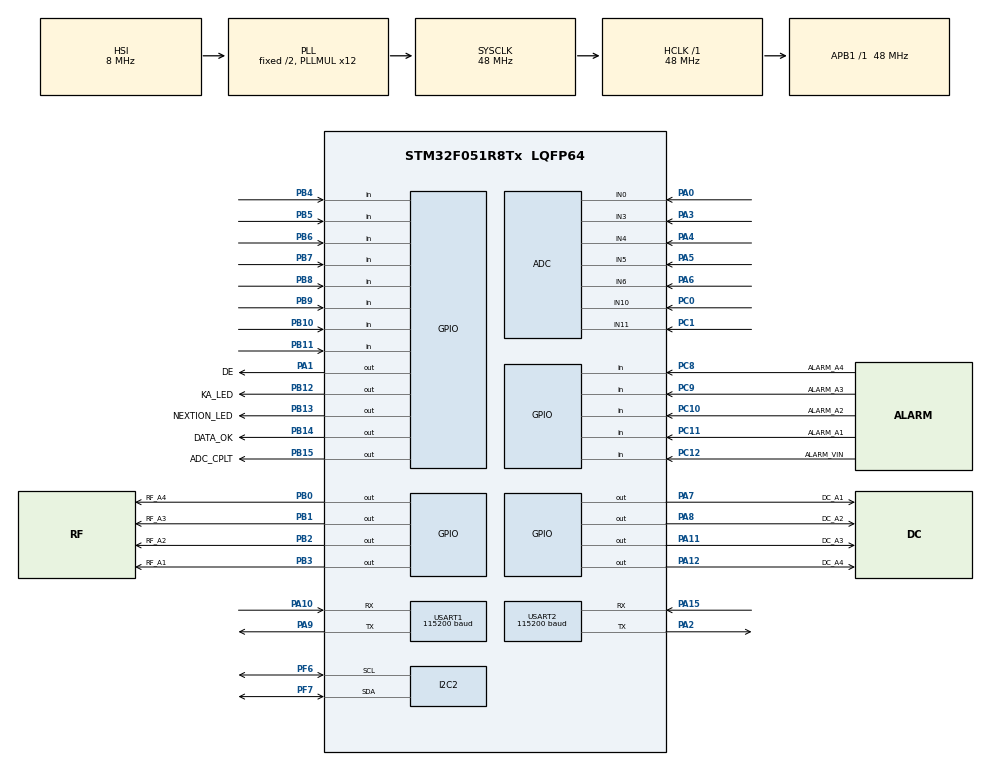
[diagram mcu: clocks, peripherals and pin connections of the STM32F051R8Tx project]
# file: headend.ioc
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ADC.ClockPrescaler=ADC_CLOCK_ASYNC_DIV1
ADC.ContinuousConvMode=ENABLE
ADC.DMAContinuousRequests=ENABLE
ADC.DiscontinuousConvMode=DISABLE
ADC.EOCSelection=ADC_EOC_SEQ_CONV
ADC.ExternalTrigConv=ADC_SOFTWARE_START
ADC.SamplingTime=ADC_SAMPLETIME_239CYCLES_5
Dma.ADC.0.Direction=DMA_PERIPH_TO_MEMORY
Dma.ADC.0.Instance=DMA1_Channel1
Dma.ADC.0.MemDataAlignment=DMA_MDATAALIGN_WORD
Dma.ADC.0.MemInc=DMA_MINC_ENABLE
Dma.ADC.0.Mode=DMA_CIRCULAR
Dma.ADC.0.PeriphDataAlignment=DMA_PDATAALIGN_WORD
Dma.ADC.0.PeriphInc=DMA_PINC_DISABLE
Dma.ADC.0.Priority=DMA_PRIORITY_LOW
Dma.Request0=ADC
I2C2.Timing=0x20303E5D
IWDG.Prescaler=IWDG_PRESCALER_32
IWDG.Reload=1250
Mcu.Family=STM32F0
Mcu.Name=STM32F051R8Tx
Mcu.Package=LQFP64
NVIC.ADC1_COMP_IRQn=true\:0\:0\:false\:false\:true\:true\:true\:true
NVIC.DMA1_Channel1_IRQn=true\:0\:0\:false\:false\:true\:false\:true\:true
NVIC.USART1_IRQn=true\:0\:0\:false\:false\:true\:true\:true\:true
NVIC.USART2_IRQn=true\:0\:0\:false\:false\:true\:true\:true\:true
PA0.Mode=IN0
PA0.Signal=ADC_IN0
PA1.GPIO_Label=DE
PA1.Signal=GPIO_Output
PA10.Mode=Asynchronous
PA10.Signal=USART1_RX
PA11.GPIO_Label=DC_A3
PA11.Signal=GPIO_Output
PA12.GPIO_Label=DC_A4
PA12.Signal=GPIO_Output
PA13.Mode=Serial_Wire
PA13.Signal=SYS_SWDIO
PA14.Mode=Serial_Wire
PA14.Signal=SYS_SWCLK
PA15.Mode=Asynchronous
PA15.Signal=USART2_RX
PA2.Mode=Asynchronous
PA2.Signal=USART2_TX
PA3.Mode=IN3
PA3.Signal=ADC_IN3
PA4.Mode=IN4
PA4.Signal=ADC_IN4
PA5.Mode=IN5
PA5.Signal=ADC_IN5
PA6.Mode=IN6
PA6.Signal=ADC_IN6
PA7.GPIO_Label=DC_A1
PA7.Signal=GPIO_Output
PA8.GPIO_Label=DC_A2
PA8.Signal=GPIO_Output
PA9.Mode=Asynchronous
PA9.Signal=USART1_TX
PB0.GPIO_Label=RF_A4
PB0.Signal=GPIO_Output
PB1.GPIO_Label=RF_A3
PB1.Signal=GPIO_Output
PB10.Signal=GPIO_Input
PB11.Signal=GPIO_Input
PB12.GPIO_Label=KA_LED
PB12.Signal=GPIO_Output
PB13.GPIO_Label=NEXTION_LED
PB13.Signal=GPIO_Output
PB14.GPIO_Label=DATA_OK
PB14.Signal=GPIO_Output
PB15.GPIO_Label=ADC_CPLT
PB15.Signal=GPIO_Output
PB2.GPIO_Label=RF_A2
PB2.Signal=GPIO_Output
PB3.GPIO_Label=RF_A1
PB3.Signal=GPIO_Output
PB4.Signal=GPIO_Input
PB5.Signal=GPIO_Input
PB6.Signal=GPIO_Input
PB7.Signal=GPIO_Input
PB8.Signal=GPIO_Input
PB9.Signal=GPIO_Input
PC0.Mode=IN10
PC0.Signal=ADC_IN10
PC1.Mode=IN11
PC1.Signal=ADC_IN11
PC10.GPIO_Label=ALARM_A2
PC10.Signal=GPIO_Input
PC11.GPIO_Label=ALARM_A1
PC11.Signal=GPIO_Input
PC12.GPIO_Label=ALARM_VIN
PC12.Signal=GPIO_Input
PC8.GPIO_Label=ALARM_A4
PC8.Signal=GPIO_Input
PC9.GPIO_Label=ALARM_A3
PC9.Signal=GPIO_Input
PF0-OSC_IN.Mode=HSE-External-Oscillator
PF0-OSC_IN.Signal=RCC_OSC_IN
PF1-OSC_OUT.Mode=HSE-External-Oscillator
PF1-OSC_OUT.Signal=RCC_OSC_OUT
PF6.Mode=I2C
PF6.Signal=I2C2_SCL
PF7.Mode=I2C
PF7.Signal=I2C2_SDA
ProjectManager.HeapSize=0x200
ProjectManager.StackSize=0x400
ProjectManager.TargetToolchain=STM32CubeIDE
RCC.AHBFreq_Value=48000000
RCC.APB1Freq_Value=48000000
RCC.APB1TimFreq_Value=48000000
RCC.HCLKFreq_Value=48000000
RCC.HSE_VALUE=16000000
RCC.PLLMUL=RCC_PLL_MUL12
RCC.SYSCLKFreq_VALUE=48000000
RCC.SYSCLKSource=RCC_SYSCLKSOURCE_PLLCLK
USART1.BaudRate=115200
USART1.VirtualMode-Asynchronous=VM_ASYNC
USART2.BaudRate=115200
USART2.Parity=PARITY_NONE
USART2.VirtualMode-Asynchronous=VM_ASYNC
VP_IWDG_VS_IWDG.Mode=IWDG_Activate
board=custom

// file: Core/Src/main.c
/* USER CODE BEGIN Header */
/**
 ******************************************************************************
 * @file           : main.c
 * @brief          : Main program body
 ******************************************************************************
 * @attention
 *
 * Copyright (c) 2023 STMicroelectronics.
 * All rights reserved.
 *
 * This software is licensed under terms that can be found in the LICENSE file
 * in the root directory of this software component.
 * If no LICENSE file comes with this software, it is provided AS-IS.
 *
 ******************************************************************************
 */
/* USER CODE END Header */
#include "main.h"

/* USER CODE BEGIN Includes */
#include "math.h"
#include "stdio.h"
#include "stdlib.h"
#include "stdbool.h"
#include <limits.h>
#include "rdss.h"
#include "module.h"

static const char *END_RX_DATA = "&";
static const char *START_RX_DATA = "$";
/* USER CODE END Includes */

ADC_HandleTypeDef hadc;
DMA_HandleTypeDef hdma_adc;

I2C_HandleTypeDef hi2c2;

IWDG_HandleTypeDef hiwdg;

UART_HandleTypeDef huart1;
UART_HandleTypeDef huart2;

void SystemClock_Config(void);
static void MX_GPIO_Init(void);
static void MX_DMA_Init(void);
static void MX_ADC_Init(void);
static void MX_I2C2_Init(void);
static void MX_USART1_UART_Init(void);
static void MX_USART2_UART_Init(void);
static void MX_IWDG_Init(void);

/* USER CODE BEGIN 0 */
#define ADC_CONSUMPTION_CURRENT_FACTOR  0.06472492f
#define ADC_LINE_CURRENT_FACTOR  0.0010989f
#define ADC_VOLTAGE_FACTOR  0.01387755f
#define ARTERIAL1_VOLTAGE_OBJECT_NAME "x0\0"

#define ARTERIAL1_CURRENT_OBJECT_NAME "x1\0"
#define ARTERIAL1_CURRENT_BAR_NAME "j0\0"
#define ARTERIAL1_POWER_OBJECT_NAME "x2\0"
#define ARTERIAL1_DC_ON_OBJECT_NAME "bt1\0"
#define ARTERIAL1_RF_ON_OBJECT_NAME "bt0\0"
#define ARTERIAL1_DC_ON_OBJECT_ID 5
#define ARTERIAL1_RF_ON_OBJECT_ID 3
#define ARTERIAL1_CURRENT_OBJECT_ID 4

#define ARTERIAL2_VOLTAGE_OBJECT_NAME "x5\0"
#define ARTERIAL2_CURRENT_OBJECT_NAME "x4\0"
#define ARTERIAL2_CURRENT_BAR_NAME "j1\0"
#define ARTERIAL2_POWER_OBJECT_NAME "x3\0"
#define ARTERIAL2_DC_ON_OBJECT_NAME "bt3\0"
#define ARTERIAL2_RF_ON_OBJECT_NAME "bt2\0"
#define ARTERIAL2_DC_ON_OBJECT_ID 13
#define ARTERIAL2_RF_ON_OBJECT_ID 12
#define ARTERIAL2_CURRENT_OBJECT_ID 6

#define ARTERIAL3_VOLTAGE_OBJECT_NAME "x8\0"
#define ARTERIAL3_CURRENT_OBJECT_NAME "x7\0"
#define ARTERIAL3_CURRENT_BAR_NAME "j2\0"
#define ARTERIAL3_POWER_OBJECT_NAME "x6\0"
#define ARTERIAL3_DC_ON_OBJECT_NAME "bt5\0"
#define ARTERIAL3_RF_ON_OBJECT_NAME "bt4\0"
#define ARTERIAL3_DC_ON_OBJECT_ID 15
#define ARTERIAL3_RF_ON_OBJECT_ID 14
#define ARTERIAL3_CURRENT_OBJECT_ID 7

#define ARTERIAL4_VOLTAGE_OBJECT_NAME "x11\0"
#define ARTERIAL4_CURRENT_OBJECT_NAME "x10\0"
#define ARTERIAL4_CURRENT_BAR_NAME "j3\0"
#define ARTERIAL4_POWER_OBJECT_NAME "x9\0"
#define ARTERIAL4_DC_ON_OBJECT_NAME "bt7\0"
#define ARTERIAL4_RF_ON_OBJECT_NAME "bt6\0"
#define ARTERIAL4_DC_ON_OBJECT_ID 17
#define ARTERIAL4_RF_ON_OBJECT_ID 16
#define ARTERIAL4_CURRENT_OBJECT_ID 8

#define DC_48V_OBJECT_NAME "t4\0"
#define DC_24V_OBJECT_NAME "t5\0"
#define DC_12V_OBJECT_NAME "t6\0"
#define DC_BAR_OBJ "j5\0"
#define UPLINK_OBJECT_NAME "x13\0"
#define DOWNLINK_OBJECT_NAME "x12\0"
#define DL_BAR_OBJ "j4\0"

#define RDSS_FRAME_SIZE 14
#define SIGMA_FRAME_SIZE 14
#define RDSS_START_MARK 0x7e
#define RDSS_END_MARK  0x7f
#define RDSS_BUFFER_SIZE 50
#define LTEL_SET_LENGTH  13
#define LTEL_QUERY_LENGTH  9
#define MINIMUN_FRAME_LEN 6
#define CRC_HIGH_BYTE_OFFSET 2
#define CRC_LOW_BYTE_OFFSET 3
#define FRAME_HEADER_SIZE 4
#define QUERY_SIZE_DATA
#define UART2_RX_BUFFLEN 10
#define UART2_TX_BUFFLEN 30

#define ADC_MIN_VALUE 865
#define ADC_MAX_VALUE 1795
#define VOLTAGE_MIN 11.68
#define VOLTAGE_MAX 23.27

#define ADC_CURRENT_MIN_VALUE 165
#define ADC_CURRENT_MAX_VALUE 564
#define CURRENT_MIN_VALUE 0.34
#define CURRENT_MAX_VALUE 1.16

#define ADC_CURRENT_MIN_VALUE_old 418
#define ADC_CURRENT_MAX_VALUE_old 2866
#define CURRENT_MIN_VALUE_old 0.2
#define CURRENT_MAX_VALUE_old 1.22

#define ADC_DOWNLINK_MAX 1634
#define DOWNLINK_LEVEL_MAX 11.7
#define ADC_DOWNLINK_MIN 1014
#define DOWNLINK_LEVEL_MIN -7.8
#define DOWNLINK_THRESHOLD 1600

#define UPLINK_LEVEL_MIN -45
#define UPLINK_LEVEL_MAX 0

#define ART1_THRESHOLD 450
#define ART2_THRESHOLD 450
#define ART3_THRESHOLD 450
#define ART4_THRESHOLD 450
#define VOLT_THRESHOLD 1232

#define UPLINK_THRESHOLD 100

#define VOLTAGE_THRESHOLD_5V 500
#define VOLTAGE_THRESHOLD_18V 1330
#define VOLTAGE_THRESHOLD_36V 2740

#define YELLOW_C 65504
#define RED_C 63488
#define WHITE_C 65535
#define GREEN_ON_C 2016
#define GREEN_BACKGROUND 1024
#define GREEN_DARK_BACKGROUND 480
#define GREY_BACKGROUND 50712
#define ORANGE_C 64128
#define GREY_C 21162
#define BLACK_C 0

#define SEND_DATA_TO_NEXION_TIMEOUT 100
#define ADC_WINDOW_SIZE 50

typedef enum {
	VIN_0V, VIN_12V, VIN_24V, VIN_48V, VIN_UNKNOW
} VOLTAGE_STATE_T;

int uplinkLevel;
float downlinkLevel;
uint8_t dc_bar;
uint8_t dlBar;
char dlBarObj[4];
bool vAlarm = false;
bool dlAlarm = false;
bool ulAlarm = false;
GPIO_PinState pinDcAlarm;
GPIO_PinState pinDownlinkAlarm;
char dcValueObjName[4];
char dc_12v_object[4];
char dc_24v_object[4];
char dc_48v_object[4];
char dcBarObjt[4];
VOLTAGE_STATE_T dc_voltage_state;
float dc_voltage_value;
bool arterial_change[10] = { false };
uint8_t arterial_change_times = 0;
bool arterial_update = false;
typedef enum {
	ART1, ART2, ART3, ART4, ARTERIAL_NUMBER
} ARTERIAL_NUM_T;

typedef enum NEXTION_UART_INDEX {
	START, CMD, VALUE, END, BUTTON_DATA_SIZE
} NEXTION_INDEX_T;

typedef enum {
	ART1_CURRENT_CHANNEL,
	ART4_CURRENT_CH,
	VOLTAGE_CHANNEL,
	DOWNLINK_LVL_CH,
	UPLINK_LVL_CH,
	ART3_CURRENT_CH,
	ART2_CURRENT_CHANNEL,
	ADC_CHANNELS
} ADC_CHANNEL_T;

typedef struct ARTERIAL {

	float current;
	uint8_t cBar;
	char cObj[4];
	char cBarObj[4];
	char rfObjName[4];
	char dc_object_name[4];
	uint8_t vObjID;
	uint8_t cObjID;
	uint8_t pObjID;
	uint8_t rfObjID;
	uint8_t dcObjID;
	bool current_alarm;
	uint32_t dc_alarm_color;
	uint32_t cAlarmColor;
} Arterial;

// Create a lookup table to map arterial numbers to ADC indices
const int arterialToADCIndex[ARTERIAL_NUMBER] = { ART1_CURRENT_CHANNEL,
		ART2_CURRENT_CHANNEL, ART3_CURRENT_CH, ART4_CURRENT_CH };

typedef struct {
	GPIO_TypeDef *dcPort;
	uint16_t dcPin;
	GPIO_TypeDef *rfPort;
	uint16_t rfPin;
	GPIO_TypeDef *alarm_port;
	uint16_t alarm_pin;
	bool dc_on;
	bool dcOnLast;
	bool rfOn;
	bool dc_alarm;
} ArterialIO;

Arterial arterial[ARTERIAL_NUMBER];
ArterialIO arterial_io[ARTERIAL_NUMBER];

// UART1 variables for nextion comunication
uint8_t uartBuffer[20];
uint8_t uart1RxSize;
uint8_t Cmd_End[3] = { 0xff, 0xff, 0xff };
bool sendDataOnTimeout = false;
bool isCmdOk = false;
bool isRxDataReady = false;

// UART2 variables for parameter quering
uint8_t rxData;
uint8_t uart2RxSize = 0;
uint8_t uart2RxData[UART2_RX_BUFFLEN];
bool isRxDataOk = false;
uint8_t txData;
uint8_t uart2TxIndex = 0;
uint8_t uart2TxData[UART2_TX_BUFFLEN];

uint32_t adcValues[ADC_CHANNELS];
uint8_t adcCounter[ADC_CHANNELS] = { 0 };
uint16_t adcReadings[ADC_CHANNELS][ADC_WINDOW_SIZE] = { 0 };
uint16_t adcMA[ADC_CHANNELS];
uint32_t adcSum[ADC_CHANNELS] = { 0 };

void set_arterial_output_on(ArterialIO arterial_io) {
	uint8_t pulse_width = 0;
	uint16_t pulse_times = 0;
	uint16_t pulse_period = 0;
	switch (dc_voltage_state) {

	case VIN_0V:
		pulse_width = 0;
		pulse_times = 0;
		pulse_period = 0;
		break;
	case VIN_12V:
		pulse_width = 39;
		pulse_times = 100;
		pulse_period = 100;
		break;
	case VIN_24V:
		pulse_width = 15;
		pulse_times = 45;
		pulse_period = 50;
		break;
	case VIN_48V:
		pulse_width = 10;
		pulse_times = 100;
		pulse_period = 33;
		break;
	default:
		pulse_width = 0;
		pulse_times = 0;
		pulse_period = 0;
		break;
	}

	for (uint16_t i = 0; i < pulse_times; i++) {
		for (uint8_t j = 0; j < pulse_period; j++) {
			if (j < pulse_width)
				HAL_GPIO_WritePin(arterial_io.dcPort, arterial_io.dcPin,
						GPIO_PIN_SET);
			else
				HAL_GPIO_WritePin(arterial_io.dcPort, arterial_io.dcPin,
						GPIO_PIN_RESET);
		}
	}
	HAL_GPIO_WritePin(arterial_io.dcPort, arterial_io.dcPin, GPIO_PIN_SET);
}

void set_arterial_output_off(ArterialIO arterial_io) {
	uint8_t pulse_width = 0;
	uint16_t pulse_times = 0;
	uint16_t pulse_period = 0;
	uint8_t count = 0;
	uint8_t set = 0;
	switch (dc_voltage_state) {

	case VIN_0V:
		pulse_width = 0;
		pulse_times = 0;
		pulse_period = 0;
		set = 0;
		break;
	case VIN_12V:
		pulse_width = 0;
		pulse_times = 0;
		pulse_period = 0;
		set = 0;
		break;
	case VIN_24V:
		pulse_width = 29;
		pulse_times = 37;
		pulse_period = 100;
		set = 20;
		break;
	case VIN_48V:
		pulse_width = 29;
		pulse_times = 40;
		pulse_period = 100;
		set = 30;
		break;
	default:
		pulse_width = 0;
		pulse_times = 0;
		pulse_period = 0;
		set = 0;
		break;
	}

	for (uint16_t i = 0; i < pulse_times; i++) {
		if(pulse_times > set){
			count = 1;
		}
		for (uint8_t j = 0; j < pulse_period; j++) {
			if (j < (pulse_width-count))
				HAL_GPIO_WritePin(arterial_io.dcPort, arterial_io.dcPin,
						GPIO_PIN_SET);
			else
				HAL_GPIO_WritePin(arterial_io.dcPort, arterial_io.dcPin,
						GPIO_PIN_RESET);
		}
	}
	HAL_GPIO_WritePin(arterial_io.dcPort, arterial_io.dcPin, GPIO_PIN_RESET);
	count = 0;
}

void intToNextion(char *obj, int32_t num) {
	uint8_t buffer[30] = { 0 };
	int len = sprintf((char*) buffer, "%s.val=%ld", obj, num);
	HAL_UART_Transmit(&huart1, buffer, len, HAL_MAX_DELAY);
	HAL_UART_Transmit(&huart1, Cmd_End, sizeof(Cmd_End), HAL_MAX_DELAY);
}

void floatToNextion(char *obj, float num, int dp) {
	// convert to the integer
	uint8_t len = 0;
	int32_t number = num * (pow(10, dp));
	HAL_StatusTypeDef res;
	uint8_t buffer[30] = { 0 };
	len = sprintf((char*) buffer, "%s.vvs1=%d", obj, dp);
	HAL_UART_Transmit(&huart1, buffer, len, HAL_MAX_DELAY);
	HAL_UART_Transmit(&huart1, Cmd_End, sizeof(Cmd_End), HAL_MAX_DELAY);
	len = sprintf((char*) buffer, "%s.val=%ld", obj, number);
	HAL_UART_Transmit(&huart1, buffer, len, HAL_MAX_DELAY);
	HAL_UART_Transmit(&huart1, Cmd_End, sizeof(Cmd_End), HAL_MAX_DELAY);
}

void set_color_to_nextion(char *obj, uint32_t color) {
	// convert to the integer
	uint8_t len = 0;
	uint8_t buffer[30] = { 0 };
	len = sprintf((char*) buffer, "%s.bco=%lu", obj, color);
	HAL_UART_Transmit(&huart1, buffer, len, HAL_MAX_DELAY);
	HAL_UART_Transmit(&huart1, Cmd_End, sizeof(Cmd_End), HAL_MAX_DELAY);
}

void set_on_color_to_nextion(char *obj, uint32_t color) {
	// convert to the integer
	uint8_t len = 0;
	uint8_t buffer[30] = { 0 };
	len = sprintf((char*) buffer, "%s.bco2=%lu", obj, color);
	HAL_UART_Transmit(&huart1, buffer, len, HAL_MAX_DELAY);
	HAL_UART_Transmit(&huart1, Cmd_End, sizeof(Cmd_End), HAL_MAX_DELAY);
}

void colorToNextionOff(char *obj, uint32_t color) {
	// convert to the integer
	uint8_t len = 0;
	uint8_t buffer[30] = { 0 };
	len = sprintf((char*) buffer, "%s.bco=%lu", obj, color);
	HAL_UART_Transmit(&huart1, buffer, len, HAL_MAX_DELAY);
	HAL_UART_Transmit(&huart1, Cmd_End, sizeof(Cmd_End), HAL_MAX_DELAY);
}

void set_text_color_to_nextion(char *obj, uint32_t color) {
	// convert to the integer
	uint8_t len = 0;
	uint8_t buffer[30] = { 0 };
	len = sprintf((char*) buffer, "%s.pco=%lu", obj, color);
	HAL_UART_Transmit(&huart1, buffer, len, HAL_MAX_DELAY);
	HAL_UART_Transmit(&huart1, Cmd_End, sizeof(Cmd_End), HAL_MAX_DELAY);
}

void sendArterialToNextion(Arterial arterial) {
	floatToNextion(arterial.cObj, arterial.current, 2);
	if (arterial.current_alarm)
		set_color_to_nextion(arterial.cObj, RED_C);
	else
		set_color_to_nextion(arterial.cObj, WHITE_C);

}

HAL_StatusTypeDef rxHalRes;

void HAL_UART_RxCpltCallback(UART_HandleTypeDef *huart) {
	if (huart == &huart1) {
		if ((uartBuffer[START] == *START_RX_DATA)
				&& (uartBuffer[END] == *END_RX_DATA)) {

			for (uint8_t i = 0; i < ARTERIAL_NUMBER; i++) {
				if (uartBuffer[CMD] == arterial[i].dcObjID) {
					arterial_io[i].dc_on = uartBuffer[VALUE];
					if (arterial_io[i].dc_on)
						set_arterial_output_on(arterial_io[i]);
					else
						set_arterial_output_off(arterial_io[i]);
				} else if (uartBuffer[CMD] == arterial[i].rfObjID) {
					arterial_io[i].rfOn = uartBuffer[VALUE];
					HAL_GPIO_WritePin(arterial_io[i].rfPort,
							arterial_io[i].rfPin, arterial_io[i].rfOn);
				}
			}
			isCmdOk = false;
		} else
			memset(uartBuffer, 0, 20);
		HAL_UART_Receive_IT(&huart1, uartBuffer, BUTTON_DATA_SIZE);
	}
	if (huart == &huart2)
		rxHalRes = HAL_UART_Receive_IT(&huart2, uart2RxData, QUERY_SIZE);
}

void NEXTION_SendQR(char *obj, char *str) {
	uint8_t *buffer = malloc(80 * sizeof(char));

	HAL_UART_Transmit(&huart1, (uint8_t*) "page 1", 6, 100);
	HAL_UART_Transmit(&huart1, Cmd_End, 3, 100);

	int len = sprintf((char*) buffer, "%s.txt=\"%s\"", obj, str);
	HAL_UART_Transmit(&huart1, buffer, len, 1000);
	HAL_UART_Transmit(&huart1, Cmd_End, 3, 100);
	free(buffer);
}

uint8_t RxData = 0;
int32_t num = 1;
float value = 1.1;

void nextionObjectInit() {
	// Initialize arterial 1
	snprintf(arterial[ART1].cObj, sizeof(arterial[ART1].cObj), "%s",
	ARTERIAL1_CURRENT_OBJECT_NAME);
	snprintf(arterial[ART1].cBarObj, sizeof(arterial[ART1].cBarObj), "%s",
	ARTERIAL1_CURRENT_BAR_NAME);
	snprintf(arterial[ART1].dc_object_name,
			sizeof(arterial[ART1].dc_object_name), "%s",
			ARTERIAL1_DC_ON_OBJECT_NAME);
	snprintf(arterial[ART1].rfObjName, sizeof(arterial[ART1].rfObjName), "%s",
	ARTERIAL1_RF_ON_OBJECT_NAME);
	arterial[ART1].cObjID = ARTERIAL1_CURRENT_OBJECT_ID;
	arterial[ART1].dcObjID = ARTERIAL1_DC_ON_OBJECT_ID;
	arterial[ART1].rfObjID = ARTERIAL1_RF_ON_OBJECT_ID;

	// Initialize arterial 2
	snprintf(arterial[ART2].cObj, sizeof(arterial[ART2].cObj), "%s",
	ARTERIAL2_CURRENT_OBJECT_NAME);
	snprintf(arterial[ART2].cBarObj, sizeof(arterial[ART2].cBarObj), "%s",
	ARTERIAL2_CURRENT_BAR_NAME);
	snprintf(arterial[ART2].dc_object_name,
			sizeof(arterial[ART2].dc_object_name), "%s",
			ARTERIAL2_DC_ON_OBJECT_NAME);
	snprintf(arterial[ART2].rfObjName, sizeof(arterial[ART2].rfObjName), "%s",
	ARTERIAL2_RF_ON_OBJECT_NAME);
	arterial[ART2].cObjID = ARTERIAL2_CURRENT_OBJECT_ID;
	arterial[ART2].dcObjID = ARTERIAL2_DC_ON_OBJECT_ID;
	arterial[ART2].rfObjID = ARTERIAL2_RF_ON_OBJECT_ID;

	// Initialize arterial 3
	snprintf(arterial[ART3].cObj, sizeof(arterial[ART3].cObj), "%s",
	ARTERIAL3_CURRENT_OBJECT_NAME);
	snprintf(arterial[ART3].cBarObj, sizeof(arterial[ART3].cBarObj), "%s",
	ARTERIAL3_CURRENT_BAR_NAME);
	snprintf(arterial[ART3].dc_object_name,
			sizeof(arterial[ART3].dc_object_name), "%s",
			ARTERIAL3_DC_ON_OBJECT_NAME);
	snprintf(arterial[ART3].rfObjName, sizeof(arterial[ART3].rfObjName), "%s",
	ARTERIAL3_RF_ON_OBJECT_NAME);
	arterial[ART3].cObjID = ARTERIAL3_CURRENT_OBJECT_ID;
	arterial[ART3].dcObjID = ARTERIAL3_DC_ON_OBJECT_ID;
	arterial[ART3].rfObjID = ARTERIAL3_RF_ON_OBJECT_ID;

	// Initialize arterial 4
	snprintf(arterial[ART4].cObj, sizeof(arterial[ART4].cObj), "%s",
	ARTERIAL4_CURRENT_OBJECT_NAME);
	snprintf(arterial[ART4].cBarObj, sizeof(arterial[ART4].cBarObj), "%s",
	ARTERIAL4_CURRENT_BAR_NAME);
	snprintf(arterial[ART4].dc_object_name,
			sizeof(arterial[ART4].dc_object_name), "%s",
			ARTERIAL4_DC_ON_OBJECT_NAME);
	snprintf(arterial[ART4].rfObjName, sizeof(arterial[ART4].rfObjName), "%s",
	ARTERIAL4_RF_ON_OBJECT_NAME);
	arterial[ART4].cObjID = ARTERIAL4_CURRENT_OBJECT_ID;
	arterial[ART4].dcObjID = ARTERIAL4_DC_ON_OBJECT_ID;
	arterial[ART4].rfObjID = ARTERIAL4_RF_ON_OBJECT_ID;

	snprintf(dc_12v_object, sizeof(dc_12v_object), "%s", DC_12V_OBJECT_NAME);
	snprintf(dc_24v_object, sizeof(dc_24v_object), "%s", DC_24V_OBJECT_NAME);
	snprintf(dc_48v_object, sizeof(dc_48v_object), "%s", DC_48V_OBJECT_NAME);
	snprintf(dlBarObj, sizeof(dlBarObj), "%s", DL_BAR_OBJ);
}

void initArterialIOs() {
	for (uint8_t i = 0; i < ARTERIAL_NUMBER; i++) {
		arterial_io[i].dc_on = false;
		arterial_io[i].rfOn = false;
		arterial_io[i].dc_alarm = false;

		if (i == ART1) {
			arterial_io[i].dcPort = DC_A1_GPIO_Port;
			arterial_io[i].dcPin = DC_A1_Pin;
			arterial_io[i].rfPort = RF_A1_GPIO_Port;
			arterial_io[i].rfPin = RF_A1_Pin;
			arterial_io[i].alarm_port = ALARM_A1_GPIO_Port;
			arterial_io[i].alarm_pin = ALARM_A1_Pin;
		} else if (i == ART2) {
			arterial_io[i].dcPort = DC_A2_GPIO_Port;
			arterial_io[i].dcPin = DC_A2_Pin;
			arterial_io[i].rfPort = RF_A2_GPIO_Port;
			arterial_io[i].rfPin = RF_A2_Pin;
			arterial_io[i].alarm_port = ALARM_A2_GPIO_Port;
			arterial_io[i].alarm_pin = ALARM_A2_Pin;
		} else if (i == ART3) {
			arterial_io[i].dcPort = DC_A3_GPIO_Port;
			arterial_io[i].dcPin = DC_A3_Pin;
			arterial_io[i].rfPort = RF_A3_GPIO_Port;
			arterial_io[i].rfPin = RF_A3_Pin;
			arterial_io[i].alarm_port = ALARM_A3_GPIO_Port;
			arterial_io[i].alarm_pin = ALARM_A3_Pin;
		} else if (i == ART4) {
			arterial_io[i].dcPort = DC_A4_GPIO_Port;
			arterial_io[i].dcPin = DC_A4_Pin;
			arterial_io[i].rfPort = RF_A4_GPIO_Port;
			arterial_io[i].rfPin = RF_A4_Pin;
			arterial_io[i].alarm_port = ALARM_A4_GPIO_Port;
			arterial_io[i].alarm_pin = ALARM_A4_Pin;
		} else {
			// Handle the case for additional indices if required
		}
	}
}

void TIM2_IRQHandler(void) {
	if (TIM2->SR & TIM_SR_UIF) {
		TIM2->SR &= ~TIM_SR_UIF;  // Clear the update interrupt flag
		sendDataOnTimeout = true;
		//	isRxDataOk = true;
	}
}

void TIM2_Interrupt_Init(void) {
	NVIC_SetPriority(TIM2_IRQn, 0);  // Set the interrupt priority
	NVIC_EnableIRQ(TIM2_IRQn);  // Enable the interrupt
}

void startTimer2(void) {
	TIM2->CR1 |= TIM_CR1_CEN;  // Start the timer
}

void enableGlobalInterrupts(void) {
	__enable_irq();
}

float arduino_map(uint16_t value, uint16_t in_min, uint16_t in_max,
		float out_min, float out_max) {
	return ((value - in_min) * (out_max - out_min) / (in_max - in_min) + out_min);
}

void updateAlarm() {
	arterial[ART1].current_alarm = adcValues[ART1_CURRENT_CHANNEL] > ART1_THRESHOLD;
	arterial[ART2].current_alarm = adcValues[ART2_CURRENT_CHANNEL] > ART2_THRESHOLD;
	arterial[ART3].current_alarm = adcValues[ART3_CURRENT_CH] > ART3_THRESHOLD;
	arterial[ART4].current_alarm = adcValues[ART4_CURRENT_CH] > ART4_THRESHOLD;
	for (int i = 0; i < ARTERIAL_NUMBER; i++)
		arterial_io[i].dc_alarm = HAL_GPIO_ReadPin(arterial_io[i].alarm_port,
				arterial_io[i].alarm_pin) == GPIO_PIN_RESET;

	pinDownlinkAlarm = HAL_GPIO_ReadPin(ALARM_VIN_GPIO_Port,
	ALARM_VIN_Pin == GPIO_PIN_SET);	//ESTADO ALARM5 fuente >
	vAlarm = adcValues[VOLTAGE_CHANNEL] > VOLT_THRESHOLD;
	dlAlarm = adcValues[DOWNLINK_LVL_CH] > DOWNLINK_THRESHOLD;
	ulAlarm = adcValues[UPLINK_LVL_CH] > UPLINK_THRESHOLD;
}

void update_dc_voltage_display(bool is_dc_on) {
	uint32_t font_color = is_dc_on ? BLACK_C : WHITE_C;
	uint32_t background_color = is_dc_on ? WHITE_C : GREY_C;

	/* Set text colors for all voltage objects */
	set_text_color_to_nextion(dc_12v_object, font_color);
	set_text_color_to_nextion(dc_24v_object, font_color);
	set_text_color_to_nextion(dc_48v_object, font_color);

	/* Set background colors and highlight the active voltage object */
	switch (dc_voltage_state) {
	case VIN_12V:
		set_color_to_nextion(dc_12v_object, GREEN_ON_C);
		set_color_to_nextion(dc_24v_object, background_color);
		set_color_to_nextion(dc_48v_object, background_color);
		break;
	case VIN_24V:
		set_color_to_nextion(dc_12v_object, background_color);
		set_color_to_nextion(dc_24v_object, GREEN_ON_C);
		set_color_to_nextion(dc_48v_object, background_color);
		break;
	case VIN_48V:
		set_color_to_nextion(dc_12v_object, background_color);
		set_color_to_nextion(dc_24v_object, background_color);
		set_color_to_nextion(dc_48v_object, GREEN_ON_C);
		break;
	case VIN_0V:
		set_color_to_nextion(dc_12v_object, background_color);
		set_color_to_nextion(dc_24v_object, background_color);
		set_color_to_nextion(dc_48v_object, background_color);
		break;
	default: /* Handle other voltage states or unknown states */
		set_color_to_nextion(dc_12v_object, background_color);
		set_color_to_nextion(dc_24v_object, background_color);
		set_color_to_nextion(dc_48v_object, background_color);
		break;
	}
}

void set_dc_button_alarm_color(uint8_t arterial_index) {

	if (!arterial_io[arterial_index].dc_on) {
		arterial[arterial_index].dc_alarm_color = GREY_C;
		set_on_color_to_nextion(arterial[arterial_index].dc_object_name,
				arterial[arterial_index].dc_alarm_color);
		return;
	}

	//arterial_io[arterial_index].dc_alarm = HAL_GPIO_ReadPin(
	//		arterial_io[arterial_index].alarm_port,
	//		arterial_io[arterial_index].alarm_pin) == GPIO_PIN_SET;

	if (arterial_io[arterial_index].dc_alarm == false) {
		arterial[arterial_index].dc_alarm_color = GREEN_ON_C;
		set_on_color_to_nextion(arterial[arterial_index].dc_object_name,
				arterial[arterial_index].dc_alarm_color);
		return;
	}

	if (arterial[arterial_index].dc_alarm_color == GREEN_ON_C)
		arterial[arterial_index].dc_alarm_color = RED_C;
	else if (arterial[arterial_index].dc_alarm_color == RED_C)
		arterial[arterial_index].dc_alarm_color = GREEN_ON_C;
	else
		arterial[arterial_index].dc_alarm_color = GREEN_ON_C;

	set_on_color_to_nextion(arterial[arterial_index].dc_object_name,
			arterial[arterial_index].dc_alarm_color);
}

void send_data_to_nextion_on_timeout() {

	bool dcOn = false;
	bool rfOn = false;
	uint32_t fontColor;
	uint32_t backColor;

	for (int i = 0; i < ARTERIAL_NUMBER; i++) {

		floatToNextion(arterial[i].cObj, arterial[i].current, 2);
		intToNextion(arterial[i].cBarObj, arterial[i].cBar);
		dcOn |= arterial_io[i].dc_on;
		rfOn |= arterial_io[i].rfOn;

		set_dc_button_alarm_color(i);

		if (arterial_io[i].dc_on) {
			if (arterial[i].current_alarm == true) {
				if (arterial[i].cAlarmColor == WHITE_C)
					arterial[i].cAlarmColor = RED_C;
				else if (arterial[i].cAlarmColor == RED_C)
					arterial[i].cAlarmColor = WHITE_C;
				else
					arterial[i].cAlarmColor = RED_C;
			} else
				arterial[i].cAlarmColor = WHITE_C;
		} else
			arterial[i].cAlarmColor = GREY_C;
		set_color_to_nextion(arterial[i].cObj, arterial[i].cAlarmColor);

		fontColor = arterial_io[i].dc_on ? BLACK_C : WHITE_C;
//		backColor = arterialIOs[i].dcOn ? WHITE_C : GREY_C;
//		colorToNextion(arterial[i].cObj,
//				arterial[i].cAlarm ? RED_C : backColor);
		set_text_color_to_nextion(arterial[i].cObj,
				arterial[i].current_alarm ? BLACK_C : fontColor);

	}

	update_dc_voltage_display(dcOn);

	fontColor = rfOn ? BLACK_C : WHITE_C;
	backColor = rfOn ? WHITE_C : GREY_C;

	if (downlinkLevel <= -99.9) {
		fontColor = RED_C;
		backColor = RED_C;
	}
	floatToNextion(DOWNLINK_OBJECT_NAME, downlinkLevel, 1);
	set_color_to_nextion(DOWNLINK_OBJECT_NAME, dlAlarm ? RED_C : backColor);
	set_text_color_to_nextion(DOWNLINK_OBJECT_NAME,
			dlAlarm ? BLACK_C : fontColor);
	intToNextion(dlBarObj, dlBar);
	intToNextion(DC_BAR_OBJ, dc_bar);

}

void updateDlValues() {
	downlinkLevel = arduino_map(adcValues[DOWNLINK_LVL_CH],
	ADC_DOWNLINK_MIN,
	ADC_DOWNLINK_MAX, DOWNLINK_LEVEL_MIN, DOWNLINK_LEVEL_MAX);
	if (adcValues[DOWNLINK_LVL_CH] < 380)
		downlinkLevel = -99.9;

	dlBar = arduino_map(adcValues[DOWNLINK_LVL_CH], 370, 1700, 0, 100);
	if ((int) dlBar < 0)
		dlBar = 0;

	if ((int) dlBar > 100)
		dlBar = 100;
}

void update_dc_voltage_values() {

	/* Read ADC value */
	uint16_t adc_value = adcValues[VOLTAGE_CHANNEL];

	/* Calculate DC voltage */
	dc_voltage_value = arduino_map(adc_value,
	ADC_MIN_VALUE, ADC_MAX_VALUE, VOLTAGE_MIN, VOLTAGE_MAX);

	/* Determine DC state based on voltage ranges */
	if (adc_value < VOLTAGE_THRESHOLD_5V)
		dc_voltage_state = VIN_0V;
	else if (adc_value >= VOLTAGE_THRESHOLD_5V
			&& adc_value < VOLTAGE_THRESHOLD_18V)
		dc_voltage_state = VIN_12V;
	else if (adc_value >= VOLTAGE_THRESHOLD_18V
			&& adc_value < VOLTAGE_THRESHOLD_36V)
		dc_voltage_state = VIN_24V;
	else if (adc_value >= VOLTAGE_THRESHOLD_36V)
		dc_voltage_state = VIN_48V;
	else
		dc_voltage_state = VIN_UNKNOW;

	dc_bar = arduino_map(dc_voltage_value, 0, 50, 0, 100);
	if ((int) dc_bar < 0)
		dc_bar = 0;
	if ((int) dc_bar > 100)
		dc_bar = 100;
}

uint8_t dataSize = 0;

uint8_t updateUART2Tx() {
	uint8_t idx = 0;
	uart2TxData[idx++] = RDSS_START_MARK;
	uart2TxData[idx++] = HEAD_END;
	uart2TxData[idx++] = 0x00;
	uart2TxData[idx++] = QUERY_STATUS;
	uart2TxData[idx++] = 0x00;
	uart2TxData[idx++] = dataSize;
	dataSize = idx; // 6
	uart2TxData[idx] = arterial_io[0].dc_on | (arterial_io[0].rfOn << 1);
	uart2TxData[idx] |= arterial_io[1].dc_on << 2 | arterial_io[1].rfOn << 3;
	uart2TxData[idx] |= arterial_io[2].dc_on << 4 | arterial_io[2].rfOn << 5;
	uart2TxData[idx] |= arterial_io[3].dc_on << 6 | arterial_io[3].rfOn << 7;
	idx++;
	uart2TxData[idx++] = adcValues[ART1_CURRENT_CHANNEL];
	uart2TxData[idx++] = adcValues[ART1_CURRENT_CHANNEL] >> 8;
	uart2TxData[idx++] = adcValues[ART2_CURRENT_CHANNEL];
	uart2TxData[idx++] = adcValues[ART2_CURRENT_CHANNEL] >> 8;
	uart2TxData[idx++] = adcValues[ART3_CURRENT_CH];
	uart2TxData[idx++] = adcValues[ART3_CURRENT_CH] >> 8;
	uart2TxData[idx++] = adcValues[ART4_CURRENT_CH];
	uart2TxData[idx++] = adcValues[ART4_CURRENT_CH] >> 8;
	uart2TxData[idx++] = adcValues[VOLTAGE_CHANNEL];
	uart2TxData[idx++] = adcValues[VOLTAGE_CHANNEL] >> 8;
	uart2TxData[idx++] = adcValues[DOWNLINK_LVL_CH];
	uart2TxData[idx++] = adcValues[DOWNLINK_LVL_CH] >> 8;
	uart2TxData[idx++] = adcValues[UPLINK_LVL_CH];
	uart2TxData[idx++] = adcValues[UPLINK_LVL_CH] >> 8;
	dataSize = idx - dataSize; //21 - 6 = 15
	setCrc(uart2TxData, idx);
	uart2TxData[idx + 2] = RDSS_END_MARK;

	return (idx + 3);
}

void updateArterialValues() {
	for (int i = 0; i < ARTERIAL_NUMBER; i++) {

		int adcIndex = arterialToADCIndex[i];
		arterial[i].current = arduino_map(adcValues[adcIndex],
		ADC_CURRENT_MIN_VALUE,
		ADC_CURRENT_MAX_VALUE, CURRENT_MIN_VALUE, CURRENT_MAX_VALUE);
		if (arterial[i].current > 1) {
			uint8_t j = 0;
			j++;
		}
		arterial[i].cBar = arduino_map(adcValues[adcIndex], 0, 1300, 0, 100);
		if ((int) arterial[i].cBar > 100)
			arterial[i].cBar = 100;
		if ((int) arterial[i].cBar < 0)
			arterial[i].cBar = 0;
		if (adcValues[adcIndex] < 1)
			arterial[i].current = 0;

	}
}

void TIM3_IRQHandler(void) {
	if (TIM3->SR & TIM_SR_UIF) {
		TIM3->SR &= ~TIM_SR_UIF;  // Clear the update interrupt flag
	}

	for (int adcIdx = 0; adcIdx < ADC_CHANNELS; adcIdx++) {
		// Subtract oldest value from the sum

		adcSum[adcIdx] -= adcReadings[adcIdx][adcCounter[adcIdx]];
		// Subtraction overflow check
		if ((int32_t) adcSum[adcIdx] < 0)
			adcSum[adcIdx] = 0;

		// Store the new value in the buffer
		adcReadings[adcIdx][adcCounter[adcIdx]] = adcValues[adcIdx];

		// Add new value to the sumh
		adcSum[adcIdx] += adcValues[adcIdx];

		// Calculate and return the average
		adcMA[adcIdx] = (adcSum[adcIdx] / ADC_WINDOW_SIZE);

		// Increment the current index and wrap around if necessary
		adcCounter[adcIdx]++;
		if (adcCounter[adcIdx] >= ADC_WINDOW_SIZE) {
			adcCounter[adcIdx] = 0;
		}

	}

}

void startTimer3(void) {
	TIM3->CR1 |= TIM_CR1_CEN;  // Start the timer
}

void configureTimer2() {
	// Enable the timer clock
	RCC->APB1ENR |= RCC_APB1ENR_TIM2EN;
	// Configure the timer
	TIM2->PSC = 7999; // Prescaler value for a 1 ms time base (assuming a 48 MHz clock)
	TIM2->ARR = 499; // Auto-reload value for a 500 ms period
	//	TIM2->ARR = 3999;  // Auto-reload value for a 500 ms period
	TIM2->CR1 |= TIM_CR1_ARPE;
	TIM2->CR1 |= TIM_CR1_URS;
	TIM2->DIER |= TIM_DIER_UIE;
	NVIC_SetPriority(TIM2_IRQn, 0); // Set the interrupt priority
	NVIC_EnableIRQ(TIM2_IRQn); // Enable the interrupt
}

void configureTimer3() {
	// Enable the timer clock
	RCC->APB1ENR |= RCC_APB1ENR_TIM3EN;
	// Configure the timer
	TIM3->PSC = 3999; // Prescaler value for a 1 ms time base (assuming a 48 MHz clock)
	TIM3->ARR = 199; // Auto-reload value for a 500 ms period
	//	TIM2->ARR = 3999;  // Auto-reload value for a 500 ms period
	TIM3->CR1 |= TIM_CR1_ARPE;
	TIM3->CR1 |= TIM_CR1_URS;
	TIM3->DIER |= TIM_DIER_UIE;
	NVIC_SetPriority(TIM3_IRQn, 0); // Set the interrupt priority
	NVIC_EnableIRQ(TIM3_IRQn); // Enable the interrupt
}
uint32_t startTicks = 0;
uint32_t sendDataToNextionTicks = 0;
void processRs485Cmd() {

	uart2TxIndex = updateUART2Tx();

	if (checkModuleValidity(uart2RxData, QUERY_SIZE) != VALID_MODULE)
		return;
	if (checkCRCValidity(uart2RxData, QUERY_SIZE) != DATA_OK)
		return;

	if (uart2RxData[CMD_INDEX] == QUERY_STATUS) {
		HAL_GPIO_WritePin(DE_GPIO_Port, DE_Pin, GPIO_PIN_SET);
		HAL_UART_Transmit(&huart2, uart2TxData, uart2TxIndex,
		HAL_MAX_DELAY);
		HAL_GPIO_WritePin(DE_GPIO_Port, DE_Pin, GPIO_PIN_RESET);
	}
	memset(uart2RxData, 0, UART2_RX_BUFFLEN);
	uart2RxSize = 0;
}

void uartReinit(uint16_t timeout) {
	if (HAL_GetTick() - startTicks > timeout) {
		HAL_UART_DeInit(&huart1);
		HAL_Delay(1);
		MX_USART1_UART_Init();
		HAL_UART_Init(&huart1); // Enable USART2

		HAL_UART_Receive_IT(&huart1, uartBuffer, BUTTON_DATA_SIZE);
		HAL_UART_DeInit(&huart2);
		HAL_Delay(1);
		MX_USART2_UART_Init();
		HAL_UART_Init(&huart2); // Enable USART2
		HAL_UART_Receive_IT(&huart2, uart2RxData, QUERY_SIZE);
		startTicks = HAL_GetTick();
	}
}

uint32_t keepAliveStartTicks;

void enableKeepAliveLed() {
	if (HAL_GetTick() - keepAliveStartTicks > 1000) {
		keepAliveStartTicks = HAL_GetTick();
		HAL_GPIO_WritePin(KA_LED_GPIO_Port, KA_LED_Pin, GPIO_PIN_SET);
	} else if (HAL_GetTick() - keepAliveStartTicks > 50)
		HAL_GPIO_WritePin(KA_LED_GPIO_Port, KA_LED_Pin, GPIO_PIN_RESET);
}

uint32_t maxValue = 0;
/* USER CODE END 0 */

int main(void) {

	/* MCU Configuration--------------------------------------------------------*/

	/* Reset of all peripherals, Initializes the Flash interface and the Systick. */
	HAL_Init();

	/* Configure the system clock */
	SystemClock_Config();

	/* Initialize all configured peripherals */
	MX_GPIO_Init();
	MX_DMA_Init();
	MX_ADC_Init();
	MX_I2C2_Init();
	MX_USART1_UART_Init();
	MX_USART2_UART_Init();
	MX_IWDG_Init();
	/* USER CODE BEGIN 2 */

	// Initialize necessary peripherals and configurations
	HAL_StatusTypeDef res;
	res = HAL_ADCEx_Calibration_Start(&hadc);
	if (res != HAL_OK)
		Error_Handler();

	res = HAL_ADC_Start_DMA(&hadc, (uint32_t*) adcValues, ADC_CHANNELS);
	if (res != HAL_OK)
		Error_Handler();

	res = HAL_UART_Receive_IT(&huart1, uartBuffer, BUTTON_DATA_SIZE);
	if (res != HAL_OK)
		Error_Handler();

	res = HAL_UART_Receive_IT(&huart2, uart2RxData, QUERY_SIZE);
	if (res != HAL_OK)
		Error_Handler();

	nextionObjectInit();
	initArterialIOs();

//	configureTimer2();
	configureTimer3();
//	startTimer2();
	startTimer3();

	//HAL_IWDG_Refresh(&hiwdg);
	/* USER CODE END 2 */

	/* Infinite loop */
	/* USER CODE BEGIN WHILE */
	while (1) {

		uartReinit(5000);
		processRs485Cmd();

		enableKeepAliveLed();

		updateAlarm();

		updateArterialValues();
		updateDlValues();
		update_dc_voltage_values();

		if (((HAL_GetTick() - sendDataToNextionTicks)
				> SEND_DATA_TO_NEXION_TIMEOUT)) {
			sendDataToNextionTicks = HAL_GetTick();
			send_data_to_nextion_on_timeout();
		}

		HAL_IWDG_Refresh(&hiwdg);

	}
	/* USER CODE END WHILE */

}

void SystemClock_Config(void) {
	RCC_OscInitTypeDef RCC_OscInitStruct = { 0 };
	RCC_ClkInitTypeDef RCC_ClkInitStruct = { 0 };
	RCC_PeriphCLKInitTypeDef PeriphClkInit = { 0 };

	/** Initializes the RCC Oscillators according to the specified parameters
	 * in the RCC_OscInitTypeDef structure.
	 */
	RCC_OscInitStruct.OscillatorType = RCC_OSCILLATORTYPE_HSI
			| RCC_OSCILLATORTYPE_HSI14 | RCC_OSCILLATORTYPE_LSI;
	RCC_OscInitStruct.HSIState = RCC_HSI_ON;
	RCC_OscInitStruct.HSI14State = RCC_HSI14_ON;
	RCC_OscInitStruct.HSICalibrationValue = RCC_HSICALIBRATION_DEFAULT;
	RCC_OscInitStruct.HSI14CalibrationValue = 16;
	RCC_OscInitStruct.LSIState = RCC_LSI_ON;
	RCC_OscInitStruct.PLL.PLLState = RCC_PLL_ON;
	RCC_OscInitStruct.PLL.PLLSource = RCC_PLLSOURCE_HSI;
	RCC_OscInitStruct.PLL.PLLMUL = RCC_PLL_MUL12;
	RCC_OscInitStruct.PLL.PREDIV = RCC_PREDIV_DIV1;
	if (HAL_RCC_OscConfig(&RCC_OscInitStruct) != HAL_OK) {
		Error_Handler();
	}

	/** Initializes the CPU, AHB and APB buses clocks
	 */
	RCC_ClkInitStruct.ClockType = RCC_CLOCKTYPE_HCLK | RCC_CLOCKTYPE_SYSCLK
			| RCC_CLOCKTYPE_PCLK1;
	RCC_ClkInitStruct.SYSCLKSource = RCC_SYSCLKSOURCE_PLLCLK;
	RCC_ClkInitStruct.AHBCLKDivider = RCC_SYSCLK_DIV1;
	RCC_ClkInitStruct.APB1CLKDivider = RCC_HCLK_DIV1;

	if (HAL_RCC_ClockConfig(&RCC_ClkInitStruct, FLASH_LATENCY_1) != HAL_OK) {
		Error_Handler();
	}
	PeriphClkInit.PeriphClockSelection = RCC_PERIPHCLK_USART1;
	PeriphClkInit.Usart1ClockSelection = RCC_USART1CLKSOURCE_PCLK1;
	if (HAL_RCCEx_PeriphCLKConfig(&PeriphClkInit) != HAL_OK) {
		Error_Handler();
	}
}

static void MX_ADC_Init(void) {

	ADC_ChannelConfTypeDef sConfig = { 0 };

	/** Configure the global features of the ADC (Clock, Resolution, Data Alignment and number of conversion)
	 */
	hadc.Instance = ADC1;
	hadc.Init.ClockPrescaler = ADC_CLOCK_ASYNC_DIV1;
	hadc.Init.Resolution = ADC_RESOLUTION_12B;
	hadc.Init.DataAlign = ADC_DATAALIGN_RIGHT;
	hadc.Init.ScanConvMode = ADC_SCAN_DIRECTION_FORWARD;
	hadc.Init.EOCSelection = ADC_EOC_SEQ_CONV;
	hadc.Init.LowPowerAutoWait = DISABLE;
	hadc.Init.LowPowerAutoPowerOff = DISABLE;
	hadc.Init.ContinuousConvMode = ENABLE;
	hadc.Init.DiscontinuousConvMode = DISABLE;
	hadc.Init.ExternalTrigConv = ADC_SOFTWARE_START;
	hadc.Init.ExternalTrigConvEdge = ADC_EXTERNALTRIGCONVEDGE_NONE;
	hadc.Init.DMAContinuousRequests = ENABLE;
	hadc.Init.Overrun = ADC_OVR_DATA_PRESERVED;
	if (HAL_ADC_Init(&hadc) != HAL_OK) {
		Error_Handler();
	}

	/** Configure for the selected ADC regular channel to be converted.
	 */
	sConfig.Channel = ADC_CHANNEL_0;
	sConfig.Rank = ADC_RANK_CHANNEL_NUMBER;
	sConfig.SamplingTime = ADC_SAMPLETIME_239CYCLES_5;
	if (HAL_ADC_ConfigChannel(&hadc, &sConfig) != HAL_OK) {
		Error_Handler();
	}

	/** Configure for the selected ADC regular channel to be converted.
	 */
	sConfig.Channel = ADC_CHANNEL_3;
	if (HAL_ADC_ConfigChannel(&hadc, &sConfig) != HAL_OK) {
		Error_Handler();
	}

	/** Configure for the selected ADC regular channel to be converted.
	 */
	sConfig.Channel = ADC_CHANNEL_4;
	if (HAL_ADC_ConfigChannel(&hadc, &sConfig) != HAL_OK) {
		Error_Handler();
	}

	/** Configure for the selected ADC regular channel to be converted.
	 */
	sConfig.Channel = ADC_CHANNEL_5;
	if (HAL_ADC_ConfigChannel(&hadc, &sConfig) != HAL_OK) {
		Error_Handler();
	}

	/** Configure for the selected ADC regular channel to be converted.
	 */
	sConfig.Channel = ADC_CHANNEL_6;
	if (HAL_ADC_ConfigChannel(&hadc, &sConfig) != HAL_OK) {
		Error_Handler();
	}

	/** Configure for the selected ADC regular channel to be converted.
	 */
	sConfig.Channel = ADC_CHANNEL_10;
	if (HAL_ADC_ConfigChannel(&hadc, &sConfig) != HAL_OK) {
		Error_Handler();
	}

	/** Configure for the selected ADC regular channel to be converted.
	 */
	sConfig.Channel = ADC_CHANNEL_11;
	if (HAL_ADC_ConfigChannel(&hadc, &sConfig) != HAL_OK) {
		Error_Handler();
	}

}

static void MX_I2C2_Init(void) {

	hi2c2.Instance = I2C2;
	hi2c2.Init.Timing = 0x20303E5D;
	hi2c2.Init.OwnAddress1 = 0;
	hi2c2.Init.AddressingMode = I2C_ADDRESSINGMODE_7BIT;
	hi2c2.Init.DualAddressMode = I2C_DUALADDRESS_DISABLE;
	hi2c2.Init.OwnAddress2 = 0;
	hi2c2.Init.OwnAddress2Masks = I2C_OA2_NOMASK;
	hi2c2.Init.GeneralCallMode = I2C_GENERALCALL_DISABLE;
	hi2c2.Init.NoStretchMode = I2C_NOSTRETCH_DISABLE;
	if (HAL_I2C_Init(&hi2c2) != HAL_OK) {
		Error_Handler();
	}

	/** Configure Analogue filter
	 */
	if (HAL_I2CEx_ConfigAnalogFilter(&hi2c2, I2C_ANALOGFILTER_ENABLE)
			!= HAL_OK) {
		Error_Handler();
	}

	/** Configure Digital filter
	 */
	if (HAL_I2CEx_ConfigDigitalFilter(&hi2c2, 0) != HAL_OK) {
		Error_Handler();
	}

}

static void MX_IWDG_Init(void) {

	hiwdg.Instance = IWDG;
	hiwdg.Init.Prescaler = IWDG_PRESCALER_32;
	hiwdg.Init.Window = 4095;
	hiwdg.Init.Reload = 1250;
	if (HAL_IWDG_Init(&hiwdg) != HAL_OK) {
		Error_Handler();
	}

}

static void MX_USART1_UART_Init(void) {

	huart1.Instance = USART1;
	huart1.Init.BaudRate = 115200;
	huart1.Init.WordLength = UART_WORDLENGTH_8B;
	huart1.Init.StopBits = UART_STOPBITS_1;
	huart1.Init.Parity = UART_PARITY_NONE;
	huart1.Init.Mode = UART_MODE_TX_RX;
	huart1.Init.HwFlowCtl = UART_HWCONTROL_NONE;
	huart1.Init.OverSampling = UART_OVERSAMPLING_16;
	huart1.Init.OneBitSampling = UART_ONE_BIT_SAMPLE_DISABLE;
	huart1.AdvancedInit.AdvFeatureInit = UART_ADVFEATURE_NO_INIT;
	if (HAL_UART_Init(&huart1) != HAL_OK) {
		Error_Handler();
	}

}

static void MX_USART2_UART_Init(void) {

	huart2.Instance = USART2;
	huart2.Init.BaudRate = 115200;
	huart2.Init.WordLength = UART_WORDLENGTH_8B;
	huart2.Init.StopBits = UART_STOPBITS_1;
	huart2.Init.Parity = UART_PARITY_NONE;
	huart2.Init.Mode = UART_MODE_TX_RX;
	huart2.Init.HwFlowCtl = UART_HWCONTROL_NONE;
	huart2.Init.OverSampling = UART_OVERSAMPLING_16;
	huart2.Init.OneBitSampling = UART_ONE_BIT_SAMPLE_DISABLE;
	huart2.AdvancedInit.AdvFeatureInit = UART_ADVFEATURE_NO_INIT;
	if (HAL_UART_Init(&huart2) != HAL_OK) {
		Error_Handler();
	}

}

static void MX_DMA_Init(void) {

	/* DMA controller clock enable */
	__HAL_RCC_DMA1_CLK_ENABLE();

	/* DMA interrupt init */
	/* DMA1_Channel1_IRQn interrupt configuration */
	HAL_NVIC_SetPriority(DMA1_Channel1_IRQn, 0, 0);
	HAL_NVIC_EnableIRQ(DMA1_Channel1_IRQn);

}

static void MX_GPIO_Init(void) {
	GPIO_InitTypeDef GPIO_InitStruct = { 0 };

	/* GPIO Ports Clock Enable */
	__HAL_RCC_GPIOF_CLK_ENABLE();
	__HAL_RCC_GPIOC_CLK_ENABLE();
	__HAL_RCC_GPIOA_CLK_ENABLE();
	__HAL_RCC_GPIOB_CLK_ENABLE();

	/*Configure GPIO pin Output Level */
	HAL_GPIO_WritePin(GPIOA,
	DE_Pin | DC_A1_Pin | DC_A2_Pin | DC_A3_Pin | DC_A4_Pin, GPIO_PIN_RESET);

	/*Configure GPIO pin Output Level */
	HAL_GPIO_WritePin(GPIOB,
			RF_A4_Pin | RF_A3_Pin | RF_A2_Pin | KA_LED_Pin | NEXTION_LED_Pin
					| DATA_OK_Pin | ADC_CPLT_Pin | RF_A1_Pin, GPIO_PIN_RESET);

	/*Configure GPIO pins : DE_Pin DC_A1_Pin DC_A2_Pin DC_A3_Pin
	 DC_A4_Pin */
	GPIO_InitStruct.Pin =
	DE_Pin | DC_A1_Pin | DC_A2_Pin | DC_A3_Pin | DC_A4_Pin;
	GPIO_InitStruct.Mode = GPIO_MODE_OUTPUT_PP;
	GPIO_InitStruct.Pull = GPIO_NOPULL;
	GPIO_InitStruct.Speed = GPIO_SPEED_FREQ_LOW;
	HAL_GPIO_Init(GPIOA, &GPIO_InitStruct);

	/*Configure GPIO pins : RF_A4_Pin RF_A3_Pin RF_A2_Pin KA_LED_Pin
	 NEXTION_LED_Pin DATA_OK_Pin ADC_CPLT_Pin RF_A1_Pin */
	GPIO_InitStruct.Pin = RF_A4_Pin | RF_A3_Pin | RF_A2_Pin | KA_LED_Pin
			| NEXTION_LED_Pin | DATA_OK_Pin | ADC_CPLT_Pin | RF_A1_Pin;
	GPIO_InitStruct.Mode = GPIO_MODE_OUTPUT_PP;
	GPIO_InitStruct.Pull = GPIO_NOPULL;
	GPIO_InitStruct.Speed = GPIO_SPEED_FREQ_LOW;
	HAL_GPIO_Init(GPIOB, &GPIO_InitStruct);

	/*Configure GPIO pins : PB10 PB11 PB4 PB5
	 PB6 PB7 PB8 PB9 */
	GPIO_InitStruct.Pin =
	GPIO_PIN_10 | GPIO_PIN_11 | GPIO_PIN_4 | GPIO_PIN_5 | GPIO_PIN_6
			| GPIO_PIN_7 | GPIO_PIN_8 | GPIO_PIN_9;
	GPIO_InitStruct.Mode = GPIO_MODE_INPUT;
	GPIO_InitStruct.Pull = GPIO_NOPULL;
	HAL_GPIO_Init(GPIOB, &GPIO_InitStruct);

	/*Configure GPIO pins : ALARM_A4_Pin ALARM_A3_Pin ALARM_A2_Pin ALARM_A1_Pin
	 ALARM_VIN_Pin */
	GPIO_InitStruct.Pin = ALARM_A4_Pin | ALARM_A3_Pin | ALARM_A2_Pin
			| ALARM_A1_Pin | ALARM_VIN_Pin;
	GPIO_InitStruct.Mode = GPIO_MODE_INPUT;
	GPIO_InitStruct.Pull = GPIO_NOPULL;
	HAL_GPIO_Init(GPIOC, &GPIO_InitStruct);

}

void Error_Handler(void) {
	__disable_irq();
	while (1) {
	}
}
